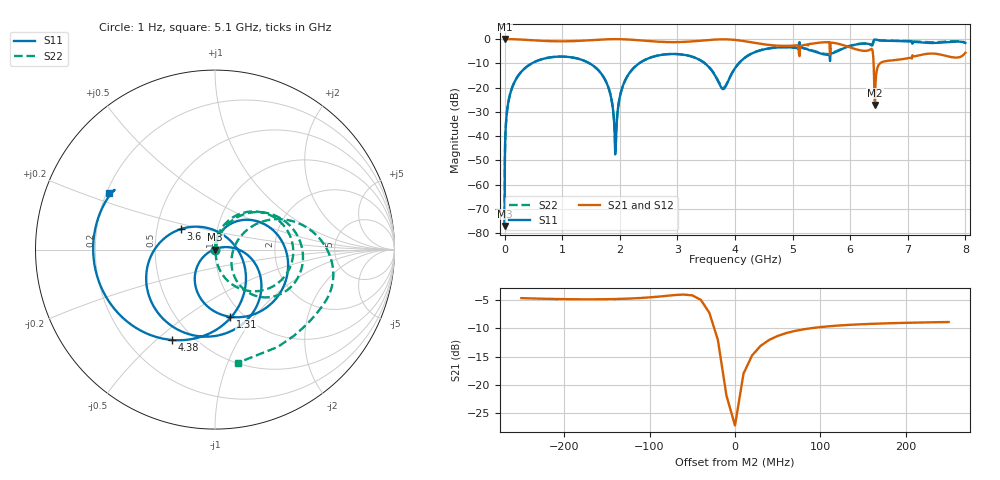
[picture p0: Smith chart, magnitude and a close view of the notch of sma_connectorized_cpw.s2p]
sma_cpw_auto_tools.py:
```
# --------------------------------------------------------------
#  [Ansys ver] Ansys Electronics Desktop Version 2024.2.0
#  [Date]  July 27, 2025
#  [File name] SMA_connectorized_CPW
#  [Notes]  SMA_connectorized_CPW
#  [Author's Email]  3405802009@qq.com
# --------------------------------------------------------------
import os
import win32com.client
oAnsoftApp = win32com.client.Dispatch('AnsoftHfss.HfssScriptInterface')
oDesktop = oAnsoftApp.GetAppDesktop()
oDesktop.RestoreWindow()
oProject = oDesktop.NewProject()
oProject.InsertDesign("HFSS", "sma_connectorized_cpw", "DrivenTerminal", "")
oDesign = oProject.SetActiveDesign("sma_connectorized_cpw")

oEditor = oDesign.SetActiveEditor("3D Modeler")
oEditor.Import(
	[
		"NAME:NativeBodyParameters",
		"HealOption:="		, 0,
		"Options:="		, "0",
		"FileType:="		, "UnRecognized",
		"MaxStitchTol:="	, -1,
		"ImportFreeSurfaces:="	, False,
		"GroupByAssembly:="	, False,
		"CreateGroup:="		, True,
		"STLFileUnit:="		, "Auto",
		"MergeFacesAngle:="	, 0.02,
		"HealSTL:="		, False,
		"ReduceSTL:="		, False,
		"ReduceMaxError:="	, 0,
		"ReducePercentage:="	, 100,
		"PointCoincidenceTol:="	, 1E-06,
		"CreateLightweightPart:=", False,
		"ImportMaterialNames:="	, True,
		"SeparateDisjointLumps:=", False,
		"SourceFile:="		, "C:\\00_Asenjo\\00_Project\\Ketupa\\simulation\\Ansys_HFSS_waveguide\\CPW\\dxf\\sma_cpw.sab"
	])

oEditor.AssignMaterial(
	[
		"NAME:Selections",
		"AllowRegionDependentPartSelectionForPMLCreation:=", True,
		"AllowRegionSelectionForPMLCreation:=", True,
		"Selections:="		, "sma_cpw_Unnamed_2"
	],
	[
		"NAME:Attributes",
		"MaterialValue:="	, "\"bronze\"",
		"SolveInside:="		, False,
		"ShellElement:="	, False,
		"ShellElementThickness:=", "nan ",
		"ReferenceTemperature:=", "nan ",
		"IsMaterialEditable:="	, True,
		"IsSurfaceMaterialEditable:=", True,
		"UseMaterialAppearance:=", False,
		"IsLightweight:="	, False
	])
oEditor = oDesign.SetActiveEditor("3D Modeler")
oEditor.AssignMaterial(
	[
		"NAME:Selections",
		"AllowRegionDependentPartSelectionForPMLCreation:=", True,
		"AllowRegionSelectionForPMLCreation:=", True,
		"Selections:="		, "sma_cpw_Unnamed_5"
	],
	[
		"NAME:Attributes",
		"MaterialValue:="	, "\"bronze\"",
		"SolveInside:="		, False,
		"ShellElement:="	, False,
		"ShellElementThickness:=", "nan ",
		"ReferenceTemperature:=", "nan ",
		"IsMaterialEditable:="	, True,
		"IsSurfaceMaterialEditable:=", True,
		"UseMaterialAppearance:=", False,
		"IsLightweight:="	, False
	])
oEditor.AssignMaterial(
	[
		"NAME:Selections",
		"AllowRegionDependentPartSelectionForPMLCreation:=", True,
		"AllowRegionSelectionForPMLCreation:=", True,
		"Selections:="		, "sma_cpw_Unnamed_3"
	],
	[
		"NAME:Attributes",
		"MaterialValue:="	, "\"Teflon (tm)\"",
		"SolveInside:="		, True,
		"ShellElement:="	, False,
		"ShellElementThickness:=", "nan ",
		"ReferenceTemperature:=", "nan ",
		"IsMaterialEditable:="	, True,
		"IsSurfaceMaterialEditable:=", True,
		"UseMaterialAppearance:=", False,
		"IsLightweight:="	, False
	])
oEditor.AssignMaterial(
	[
		"NAME:Selections",
		"AllowRegionDependentPartSelectionForPMLCreation:=", True,
		"AllowRegionSelectionForPMLCreation:=", True,
		"Selections:="		, "sma_cpw_Unnamed_4"
	],
	[
		"NAME:Attributes",
		"MaterialValue:="	, "\"copper\"",
		"SolveInside:="		, False,
		"ShellElement:="	, False,
		"ShellElementThickness:=", "nan ",
		"ReferenceTemperature:=", "nan ",
		"IsMaterialEditable:="	, True,
		"IsSurfaceMaterialEditable:=", True,
		"UseMaterialAppearance:=", False,
		"IsLightweight:="	, False
	])
oEditor.AssignMaterial(
	[
		"NAME:Selections",
		"AllowRegionDependentPartSelectionForPMLCreation:=", True,
		"AllowRegionSelectionForPMLCreation:=", True,
		"Selections:="		, "sma_cpw_Unnamed_9"
	],
	[
		"NAME:Attributes",
		"MaterialValue:="	, "\"copper\"",
		"SolveInside:="		, False,
		"ShellElement:="	, False,
		"ShellElementThickness:=", "nan ",
		"ReferenceTemperature:=", "nan ",
		"IsMaterialEditable:="	, True,
		"IsSurfaceMaterialEditable:=", True,
		"UseMaterialAppearance:=", False,
		"IsLightweight:="	, False
	])
oEditor.AssignMaterial(
	[
		"NAME:Selections",
		"AllowRegionDependentPartSelectionForPMLCreation:=", True,
		"AllowRegionSelectionForPMLCreation:=", True,
		"Selections:="		, "sma_cpw_Unnamed_8"
	],
	[
		"NAME:Attributes",
		"MaterialValue:="	, "\"tin\"",
		"SolveInside:="		, False,
		"ShellElement:="	, False,
		"ShellElementThickness:=", "nan ",
		"ReferenceTemperature:=", "nan ",
		"IsMaterialEditable:="	, True,
		"IsSurfaceMaterialEditable:=", True,
		"UseMaterialAppearance:=", False,
		"IsLightweight:="	, False
	])


oEditor.AssignMaterial(
	[
		"NAME:Selections",
		"AllowRegionDependentPartSelectionForPMLCreation:=", True,
		"AllowRegionSelectionForPMLCreation:=", True,
		"Selections:="		, "sma_cpw_Unnamed_7"
	],
	[
		"NAME:Attributes",
		"MaterialValue:="	, "\"Rogers TMM 3 (tm)\"",
		"SolveInside:="		, True,
		"ShellElement:="	, False,
		"ShellElementThickness:=", "nan ",
		"ReferenceTemperature:=", "nan ",
		"IsMaterialEditable:="	, True,
		"IsSurfaceMaterialEditable:=", True,
		"UseMaterialAppearance:=", False,
		"IsLightweight:="	, False
	])


oEditor.CreateBox(
	[
		"NAME:BoxParameters",
		"XPosition:="		, "0mm",
		"YPosition:="		, "16.4mm",
		"ZPosition:="		, "1.524mm",
		"XSize:="		, "60mm",
		"YSize:="		, "-2.8mm",
		"ZSize:="		, "0.050mm"
	],
	[
		"NAME:Attributes",
		"Name:="		, "micro_line",
		"Flags:="		, "",
		"Color:="		, "(143 175 143)",
		"Transparency:="	, 0,
		"PartCoordinateSystem:=", "Global",
		"UDMId:="		, "",
		"MaterialValue:="	, "\"copper\"",
		"SurfaceMaterialValue:=", "\"\"",
		"SolveInside:="		, True,
		"ShellElement:="	, False,
		"ShellElementThickness:=", "0mm",
		"ReferenceTemperature:=", "20cel",
		"IsMaterialEditable:="	, True,
		"IsSurfaceMaterialEditable:=", True,
		"UseMaterialAppearance:=", False,
		"IsLightweight:="	, False
	])
oEditor.CreateBox(
	[
		"NAME:BoxParameters",
		"XPosition:="		, "0mm",
		"YPosition:="		, "17.9mm",
		"ZPosition:="		, "1.524mm",
		"XSize:="		, "60mm",
		"YSize:="		, "12.1mm",
		"ZSize:="		, "0.050mm"
	],
	[
		"NAME:Attributes",
		"Name:="		, "Gnd1",
		"Flags:="		, "",
		"Color:="		, "(143 175 143)",
		"Transparency:="	, 0,
		"PartCoordinateSystem:=", "Global",
		"UDMId:="		, "",
		"MaterialValue:="	, "\"copper\"",
		"SurfaceMaterialValue:=", "\"\"",
		"SolveInside:="		, True,
		"ShellElement:="	, False,
		"ShellElementThickness:=", "0mm",
		"ReferenceTemperature:=", "20cel",
		"IsMaterialEditable:="	, True,
		"IsSurfaceMaterialEditable:=", True,
		"UseMaterialAppearance:=", False,
		"IsLightweight:="	, False
	])
oEditor.CreateBox(
	[
		"NAME:BoxParameters",
		"XPosition:="		, "0mm",
		"YPosition:="		, "12mm",
		"ZPosition:="		, "1.524mm",
		"XSize:="		, "60mm",
		"YSize:="		, "-12mm",
		"ZSize:="		, "0.050mm"
	],
	[
		"NAME:Attributes",
		"Name:="		, "Gnd2",
		"Flags:="		, "",
		"Color:="		, "(143 175 143)",
		"Transparency:="	, 0,
		"PartCoordinateSystem:=", "Global",
		"UDMId:="		, "",
		"MaterialValue:="	, "\"copper\"",
		"SurfaceMaterialValue:=", "\"\"",
		"SolveInside:="		, True,
		"ShellElement:="	, False,
		"ShellElementThickness:=", "0mm",
		"ReferenceTemperature:=", "20cel",
		"IsMaterialEditable:="	, True,
		"IsSurfaceMaterialEditable:=", True,
		"UseMaterialAppearance:=", False,
		"IsLightweight:="	, False
	])
oEditor.Unite(
	[
		"NAME:Selections",
		"Selections:="		, "micro_line,sma_cpw_Unnamed_8"
	],
	[
		"NAME:UniteParameters",
		"KeepOriginals:="	, False,
		"TurnOnNBodyBoolean:="	, True
	])

oEditor.CreateCircle(
	[
		"NAME:CircleParameters",
		"IsCovered:="		, True,
		"XCenter:="		, "-8mm",
		"YCenter:="		, "15mm",
		"ZCenter:="		, "2.159mm",
		"Radius:="		, "2.6594136571808mm",
		"WhichAxis:="		, "X",
		"NumSegments:="		, "0"
	],
	[
		"NAME:Attributes",
		"Name:="		, "port1",
		"Flags:="		, "",
		"Color:="		, "(143 175 143)",
		"Transparency:="	, 0,
		"PartCoordinateSystem:=", "Global",
		"UDMId:="		, "",
		"MaterialValue:="	, "\"vacuum\"",
		"SurfaceMaterialValue:=", "\"\"",
		"SolveInside:="		, True,
		"ShellElement:="	, False,
		"ShellElementThickness:=", "0mm",
		"ReferenceTemperature:=", "20cel",
		"IsMaterialEditable:="	, True,
		"IsSurfaceMaterialEditable:=", True,
		"UseMaterialAppearance:=", False,
		"IsLightweight:="	, False
	])
oEditor.CreateRectangle(
	[
		"NAME:RectangleParameters",
		"IsCovered:="		, True,
		"XStart:="		, "60mm",
		"YStart:="		, "0mm",
		"ZStart:="		, "0mm",
		"Width:="		, "30mm",
		"Height:="		, "5mm",
		"WhichAxis:="		, "X"
	],
	[
		"NAME:Attributes",
		"Name:="		, "port2",
		"Flags:="		, "",
		"Color:="		, "(143 175 143)",
		"Transparency:="	, 0,
		"PartCoordinateSystem:=", "Global",
		"UDMId:="		, "",
		"MaterialValue:="	, "\"vacuum\"",
		"SurfaceMaterialValue:=", "\"\"",
		"SolveInside:="		, True,
		"ShellElement:="	, False,
		"ShellElementThickness:=", "0mm",
		"ReferenceTemperature:=", "20cel",
		"IsMaterialEditable:="	, True,
		"IsSurfaceMaterialEditable:=", True,
		"UseMaterialAppearance:=", False,
		"IsLightweight:="	, False
	])
oEditor.CreateRegion(
	[
		"NAME:RegionParameters",
		"+XPaddingType:="	, "Percentage Offset",
		"+XPadding:="		, "0",
		"-XPaddingType:="	, "Percentage Offset",
		"-XPadding:="		, "0",
		"+YPaddingType:="	, "Percentage Offset",
		"+YPadding:="		, "0",
		"-YPaddingType:="	, "Percentage Offset",
		"-YPadding:="		, "0",
		"+ZPaddingType:="	, "Percentage Offset",
		"+ZPadding:="		, "0",
		"-ZPaddingType:="	, "Percentage Offset",
		"-ZPadding:="		, "0",
		[
			"NAME:BoxForVirtualObjects",
			[
				"NAME:LowPoint",
				1,
				1,
				1
			],
			[
				"NAME:HighPoint",
				-1,
				-1,
				-1
			]
		]
	],
	[
		"NAME:Attributes",
		"Name:="		, "Air_Region",
		"Flags:="		, "Wireframe#",
		"Color:="		, "(143 175 143)",
		"Transparency:="	, 0,
		"PartCoordinateSystem:=", "Global",
		"UDMId:="		, "",
		"MaterialValue:="	, "\"air\"",
		"SurfaceMaterialValue:=", "\"\"",
		"SolveInside:="		, True,
		"ShellElement:="	, False,
		"ShellElementThickness:=", "nan ",
		"ReferenceTemperature:=", "nan ",
		"IsMaterialEditable:="	, True,
		"IsSurfaceMaterialEditable:=", True,
		"UseMaterialAppearance:=", False,
		"IsLightweight:="	, False
	])
oModule = oDesign.GetModule("BoundarySetup")
oModule.AutoIdentifyPorts(
	[
		"NAME:Faces",
		1242
	], False,
	[
		"NAME:ReferenceConductors",
		"sma_cpw_Unnamed_2"
	], "1", True)
oModule.AutoIdentifyPorts(
	[
		"NAME:Faces",
		1254
	], False,
	[
		"NAME:ReferenceConductors",
		"Gnd1",
		"Gnd2"
	], "2", True)
############################Analysis#######################################
oModule = oDesign.GetModule("AnalysisSetup")
oModule.InsertSetup("HfssDriven",
	[
		"NAME:Setup1",
		"SolveType:="		, "Single",
		"Frequency:="		, "2.4GHz",
		"MaxDeltaS:="		, 0.02,
		"UseMatrixConv:="	, False,
		"MaximumPasses:="	, 6,
		"MinimumPasses:="	, 1,
		"MinimumConvergedPasses:=", 1,
		"PercentRefinement:="	, 30,
		"IsEnabled:="		, True,
		[
			"NAME:MeshLink",
			"ImportMesh:="		, False
		],
		"BasisOrder:="		, 1,
		"DoLambdaRefine:="	, True,
		"DoMaterialLambda:="	, True,
		"SetLambdaTarget:="	, False,
		"Target:="		, 0.3333,
		"UseMaxTetIncrease:="	, False,
		"PortAccuracy:="	, 2,
		"UseABCOnPort:="	, False,
		"SetPortMinMaxTri:="	, False,
		"DrivenSolverType:="	, "Direct Solver",
		"EnhancedLowFreqAccuracy:=", False,
		"SaveRadFieldsOnly:="	, False,
		"SaveAnyFields:="	, True,
		"IESolverType:="	, "Auto",
		"LambdaTargetForIESolver:=", 0.15,
		"UseDefaultLambdaTgtForIESolver:=", True,
		"IE Solver Accuracy:="	, "Balanced",
		"InfiniteSphereSetup:="	, "",
		"MaxPass:="		, 10,
		"MinPass:="		, 1,
		"MinConvPass:="		, 1,
		"PerError:="		, 1,
		"PerRefine:="		, 30
	])
oModule.InsertFrequencySweep("Setup1",
	[
		"NAME:Sweep",
		"IsEnabled:="		, True,
		"RangeType:="		, "LinearCount",
		"RangeStart:="		, "0Hz",
		"RangeEnd:="		, "1Hz",
		"RangeCount:="		, 1,
		[
			"NAME:SweepRanges",
			[
				"NAME:Subrange",
				"RangeType:="		, "LogScale",
				"RangeStart:="		, "1Hz",
				"RangeEnd:="		, "100MHz",
				"RangeCount:="		, 401,
				"RangeSamples:="	, 20
			],
			[
				"NAME:Subrange",
				"RangeType:="		, "LinearStep",
				"RangeStart:="		, "100MHz",
				"RangeEnd:="		, "1GHz",
				"RangeStep:="		, "10MHz"
			],
			[
				"NAME:Subrange",
				"RangeType:="		, "LinearStep",
				"RangeStart:="		, "1GHz",
				"RangeEnd:="		, "8GHz",
				"RangeStep:="		, "10MHz"
			]
		],
		"Type:="		, "Interpolating",
		"SaveFields:="		, True,
		"SaveRadFields:="	, True,
		"InterpTolerance:="	, 0.5,
		"InterpMaxSolns:="	, 250,
		"InterpMinSolns:="	, 0,
		"InterpMinSubranges:="	, 1,
		"MinSolvedFreq:="	, "0.01GHz",
		"InterpUseS:="		, True,
		"InterpUsePortImped:="	, True,
		"InterpUsePropConst:="	, True,
		"UseDerivativeConvergence:=", False,
		"InterpDerivTolerance:=", 0.2,
		"UseFullBasis:="	, True,
		"EnforcePassivity:="	, True,
		"PassivityErrorTolerance:=", 0.0001,
		"EnforceCausality:="	, False
	])
##################################Save and Analyze##############################
oProject.SaveAs("C:\\00_Asenjo\\00_Project\\Ketupa\\simulation\\Ansys_HFSS_waveguide\\CPW\\HFSS_Projects\\sma_connectorized_cpw.aedt", True)
oDesign.AnalyzeAll()
##################################Create Reports################################
oModule = oDesign.GetModule("ReportSetup")
oModule.CreateReport("Terminal S Parameter Plot 1", "Terminal Solution Data", "Rectangular Plot", "Setup1 : Sweep",
	[
		"Domain:="		, "Sweep"
	],
	[
		"Freq:="		, ["All"]
	],
	[
		"X Component:="		, "Freq",
		"Y Component:="		, ["dB(St(sma_cpw_Unnamed_4_T1,sma_cpw_Unnamed_4_T1))","dB(St(micro_line_T1,sma_cpw_Unnamed_4_T1))"]
	])
##################################Save Reports###########################################
oModule = oDesign.GetModule("ReportSetup")
oModule.ExportToFile("Terminal S Parameter Plot 1", "C:\\00_Asenjo\\00_Project\\Ketupa\\simulation\\Ansys_HFSS_waveguide\\CPW\\sim_results\\sma_connectorized_cpw.csv", False)
oModule.ExportImageToFile("Terminal S Parameter Plot 1", "C:\\00_Asenjo\\00_Project\\Ketupa\\simulation\\Ansys_HFSS_waveguide\\CPW\\sim_results\\sma_connectorized_cpw.bmp", 2103, 1042)
##################################Save s para############################################
oModule = oDesign.GetModule("Solutions")
oModule.ExportNetworkData("D=\'10um\' L=\'100um\' Lg=\'20um\' W=\'6um\'", ["Setup1:Sweep"], 3, "C:\\00_Asenjo\\00_Project\\Ketupa\\simulation\\Ansys_HFSS_waveguide\\CPW\\sim_results\\sma_connectorized_cpw.s2p",
						  ["All"], True, 50, "S", -1, 0, 15, True, True, False)
#######################################Save #############################################
oProject.SaveAs("C:\\00_Asenjo\\00_Project\\Ketupa\\simulation\\Ansys_HFSS_waveguide\\CPW\\HFSS_Projects\\sma_connectorized_cpw.aedt", True)
```
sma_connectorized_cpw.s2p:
! Touchstone file exported from HFSS 2024.2.0
!  File:  C:/00_Asenjo/00_Project/Ketupa/simulation/Ansys_HFSS_waveguide/CPW/HFSS_Projects/sma_connectorized_cpw.aedt
!  Generated:  11:45:58 AM Sep  1, 2025
!  Design:  sma_connectorized_cpw
!  Project:  sma_connectorized_cpw
!  Setup:  Setup1
!  Solution:  Sweep
# GHz S MA R 50.000000
! Terminal data exported
! Port[1] = sma_cpw_Unnamed_4_T1
! Port[2] = micro_line_T1
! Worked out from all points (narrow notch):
!   951 points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, 1 Hz to 8 GHz, reference 50 ohm
!   highest |S21| = 0.00 dB at 5.623 Hz (marker M1); lowest = -27.2 dB at 6.43 GHz (marker M2)
!   notch at M2: 26.3 dB deep, 42.4 MHz wide at half that depth
!   lowest |S11| = -77.0 dB at 1.122 Hz (marker M3), VSWR 1.00, Z = 50 + j9.43e-08 ohm
!   |S11| at or under -10 dB: start of sweep to 473.1 MHz; 1.475 GHz to 2.336 GHz (861.1 MHz wide, 45.2 % of centre); 3.477 GHz to 4.066 GHz (589.2 MHz wide, 15.6 % of centre)
!   |S22| runs from -77.7 to -0.2 dB; largest |S21 - S12| = 6.7e-11
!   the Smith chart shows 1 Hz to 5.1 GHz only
!   S11 on the Smith chart (normalised r, x): 1 Hz: 1.00, +0.00; 1.31 GHz: 0.87, -0.77; 3.6 GHz: 0.66, +0.16; 4.38 GHz: 0.39, -0.56; 5.1 GHz: 0.21, +0.24
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1e-09  0.000142 0.0  0.9999 -0.0  0.9999 -0.0  0.0001302 0.0
! Gamma 50 0 50 0
! Port Impedance 50 0 50 0
1.122018e-09  0.000142 0.0  0.9999 -0.0  0.9999 -0.0  0.0001302 0.0
5.623413e-09  0.000142 0.0  0.9999 -0.0  0.9999 -0.0  0.0001302 0.0
0.16  0.1221 67.6  0.9921 -19.5  0.9921 -19.5  0.122 73.2
1.31  0.3838 -77.3  0.9211 -144.8  0.9211 -144.8  0.3839 -32.0
3.6  0.2222 149.0  0.9687 -43.7  0.9687 -43.7  0.2254 -55.4
4.01  0.2608 -49.2  0.9584 -98.0  0.9584 -98.0  0.2629 31.9
4.38  0.5573 -115.4  0.8224 -142.7  0.8224 -142.7  0.5596 9.6
5.1  0.6672 151.8  0.7252 127.0  0.7252 127.0  0.6431 -78.5
6.43  0.9842 160.3  0.04368 11.9  0.04368 11.9  0.9713 62.9
8  0.8313 128.2  0.5234 125.9  0.5234 125.9  0.8391 -55.9
